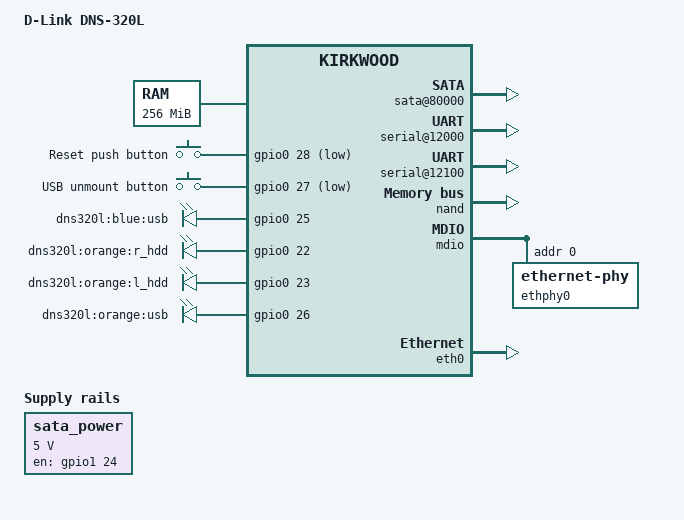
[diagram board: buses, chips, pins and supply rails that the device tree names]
/dts-v1/;

/* CREDITS
 *
 * Device tree for D-Link DNS-320L
 * based on the work of Andreas Böhler:
 *   - http://www.aboehler.at/doku/doku.php/projects:dns320l
 *   - http://www.aboehler.at/hg/linux-dns320l/file/ba7a60ad7687/linux-3.12/kirkwood-dns320l.dts
 */

#include "kirkwood.dtsi"
#include "kirkwood-6281.dtsi"

/ {
	model = "D-Link DNS-320L";
	compatible = "dlink,dns-320l", "marvell,kirkwood-88f6702", "marvell,kirkwood";

	memory {
		device_type = "memory";
		reg = <0x00000000 0x10000000>;
	};

	chosen {
		bootargs = "console=ttyS0,115200n8 earlyprintk";
		stdout-path = &uart0;
	};

	gpio-keys {
		compatible = "gpio-keys";
		#address-cells = <1>;
		#size-cells = <0>;
		pinctrl-0 = <&pmx_button_reset &pmx_button_usb_copy>;
		pinctrl-names = "default";

		button@1 {
			label = "Reset push button";
			linux,code = <KEY_RESTART>;
			gpios = <&gpio0 28 1>;
		};
		button@2 {
			label = "USB unmount button";
			linux,code = <KEY_EJECTCD>;
			gpios = <&gpio0 27 1>;
		};
	};

	gpio-leds {
		compatible = "gpio-leds";
		pinctrl-0 = <&pmx_led_usb_blue &pmx_led_red_right_hdd
			     &pmx_led_red_left_hdd  &pmx_led_usb_orange>;
		pinctrl-names = "default";

		blue-usb {
			label = "dns320l:blue:usb";
			gpios = <&gpio0 25 GPIO_ACTIVE_HIGH>; 
		};
		orange-r_hdd {
			label = "dns320l:orange:r_hdd";
			gpios = <&gpio0 22 GPIO_ACTIVE_HIGH>; 
		};
		orange-l_hdd {
			label = "dns320l:orange:l_hdd";
			gpios = <&gpio0 23 GPIO_ACTIVE_HIGH>; 
		};
		orange-usb {
			label = "dns320l:orange:usb";
			gpios = <&gpio0 26 GPIO_ACTIVE_HIGH>; 
		};
	};

 	ocp@f1000000 {
		pinctrl: pin-controller@10000 {

			pinctrl-0 = <&pmx_button_power>;
			pinctrl-names = "default";

			pmx_sata0: pmx-sata0 {
				marvell,pins = "mpp20";
				marvell,function = "sata0";
			};
			pmx_sata1: pmx-sata1 {
				marvell,pins = "mpp21";
				marvell,function = "sata1";
			};
			pmx_led_red_right_hdd: pmx-led-red-right-hdd {
			    marvell,pins = "mpp22";
			    marvell,function = "gpio";
			};
			pmx_led_red_left_hdd: pmx-led-red-left-hdd {
			    marvell,pins = "mpp23";
			    marvell,function = "gpio";
			};
			pmx_power_sata: pmx-power-sata {
			    marvell,pins = "mpp24";
			    marvell,function = "gpio";
			};
			pmx_led_usb_blue: pmx-led-usb-blue {
			    marvell,pins = "mpp25";
			    marvell,function = "gpio";
			};
			pmx_led_usb_orange: pmx-led-usb-orange {
				marvell,pins = "mpp26";
				marvell,function = "gpio";
			};
			pmx_button_usb_copy: pmx-button-usb-copy {
				marvell,pins = "mpp27";
				marvell,function = "gpio";
			};			
			pmx_button_reset: pmx-button-reset {
				marvell,pins = "mpp28";
				marvell,function = "gpio";
			};
			pmx_button_power: pmx-button-power { // I can't get this one to trigger a button press...
				marvell,pins = "mpp29";
				marvell,function = "gpio";
			};						
		};
		sata@80000 {
			status = "okay";
			nr-ports = <2>;
		};
		serial@12000 {
			status = "okay";
		};

		serial@12100 {
			pinctrl-0 = <&pmx_uart1>;
			pinctrl-names = "default";
			status = "okay";
		};
	};

	regulators {
		compatible = "simple-bus";
		#address-cells = <1>;
		#size-cells = <0>;
		pinctrl-0 = <&pmx_power_sata>;
		pinctrl-names = "default";

		sata_power: regulator@1 {
			compatible = "regulator-fixed";
			reg = <1>;
			regulator-name = "SATA Power";
			regulator-min-microvolt = <5000000>;
			regulator-max-microvolt = <5000000>;
			enable-active-high;
			regulator-always-on;
			regulator-boot-on;
			gpio = <&gpio1 24 0>;
		};
	};
};

&nand {
	pinctrl-0 = <&pmx_nand>;
	pinctrl-names = "default";
	status = "okay";
	chip-delay = <35>;

	partition@0 {
		label = "u-boot";
		reg = <0x0000000 0x100000>;
		read-only;
	};

	partition@100000 {
		label = "uImage";
		reg = <0x0100000 0x500000>;
	};

	partition@600000 {
		label = "ramdisk";
		reg = <0x0600000 0x500000>;
	};

	partition@b00000 {
		label = "image";
		reg = <0x0b00000 0x6400000>;
	};

	partition@6f00000 {
		label = "mini firmware";
		reg = <0x6f00000 0xa00000>;
	};

	partition@7900000 {
		label = "config";
		reg = <0x7900000 0x500000>;
	};

	partition@7e00000 {
	    label = "my-dlink";
	    reg = <0x7e00000 0x200000>;
	};
};

&mdio {
	status = "okay";

	ethphy0: ethernet-phy@0 {
		reg = <0>;
	};
};

&eth0 {
	status = "okay";
	ethernet0-port@0 {
		phy-handle = <&ethphy0>;
	};
};
